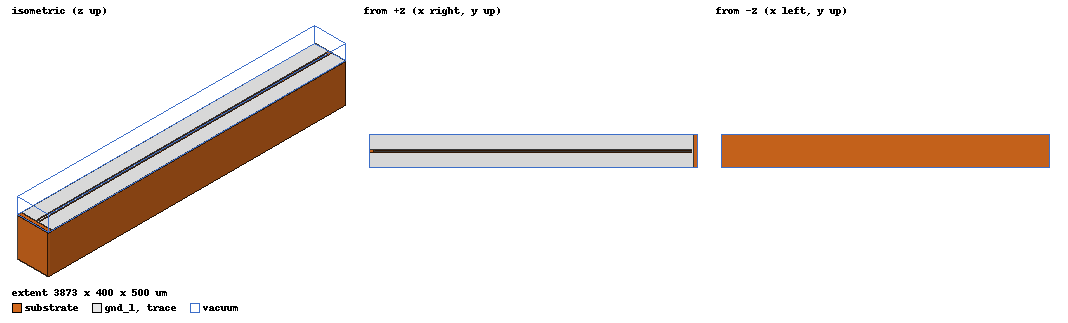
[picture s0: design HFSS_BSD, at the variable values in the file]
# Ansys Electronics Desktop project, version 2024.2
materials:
  vacuum: permittivity=1
  silicon_er1145: permittivity=11.45 permeability=1 dielectric_loss_tangent=1.2e-05

design HFSS_BSD (HFSS, HFSS Modal Network, model units um)
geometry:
  substrate [silicon_er1145] = box(corner=(-1936.295um, -200um, -500um), size=(3872.59um, 400um, 500um))
  vacuum [vacuum] = box(corner=(-1936.295um, -200um, 0um), size=(3872.59um, 400um, 200um))
  trace = polyline(z=0um, xy in um: (-1886.295, -10) (1866.295, -10) (1866.295, 10) (-1886.295, 10) (-1886.295, -10), closed, covered)
  gnd_l = polyline(z=0um, xy in um: (-1936.295, -200) (1886.295, -200) (1886.295, -21.5) (-1936.295, -21.5) (-1936.295, -200), closed, covered)
  gnd_r = polyline(z=0um, xy in um: (-1936.295, 21.5) (1886.295, 21.5) (1886.295, 200) (-1936.295, 200) (-1936.295, 21.5), closed, covered)
  short_bridge = polyline(z=0um, xy in um: (1866.295, -21.5) (1886.295, -21.5) (1886.295, 21.5) (1866.295, 21.5) (1866.295, -21.5), closed, covered)
  gnd_l.unite(gnd_r, short_bridge)
  portsheet = polyline(z=0um, xy in um: (-1886.295, 10) (-1876.295, 10) (-1876.295, 21.5) (-1886.295, 21.5) (-1886.295, 10), closed, covered)
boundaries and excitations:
  PerfE_signal: Perfect E Objects=trace
  PerfE_gnd: Perfect E Objects=gnd_l
  PerfE_backplane: Perfect E Faces=substrate.face(-z)
  p1: Lumped Port Objects=portsheet LumpedPortType=Modal Modes{Mode1{IntLine{(-1881.295, 10, 0) -> (-1881.295, 21.5, 0)} CharImp=Zpi}} Impedance=1000000ohm
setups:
  Setup1: HfssDriven Frequency=8.3GHz MaxDeltaS=0.0001 MaximumPasses=16 MinimumPasses=12 MinimumConvergedPasses=2 PercentRefinement=30 BasisOrder=1 PortAccuracy=2 DrivenSolverType="Direct Solver"
    sweep Sweep1: 7.9069491GHz to 8.0490509GHz, 20001 points; Type=Interpolating InterpTolerance=0.02 InterpMaxSolns=250 InterpUsePortImped=false PassivityErrorTolerance=0.0001
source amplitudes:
  p1:1: 1W 0deg
